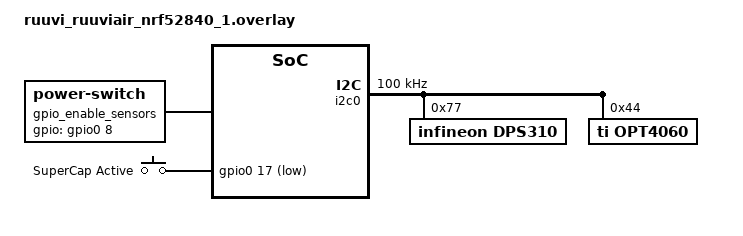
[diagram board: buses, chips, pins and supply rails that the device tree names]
/**
 * @copyright Ruuvi Innovations Ltd, license BSD-3-Clause.
 */

/ {
	gpio_enable_sensors: gpio_enable_sensors {
		compatible = "power-switch";
		status = "okay";
		gpios = <&gpio0 8 (GPIO_ACTIVE_HIGH | GPIO_PULL_DOWN)>;
	};

	buttons {
		button1: button_1 {
			gpios = <&gpio0 17 (GPIO_ACTIVE_LOW)>;
			label = "SuperCap Active";
			zephyr,code = <INPUT_KEY_1>;
		};
	};

	aliases {
		gpio-supercap-active = &button1;
	};
};

&gpio0 {
	status = "okay";
	gpio-reserved-ranges = <0 2>, <4 2>, <9 2>, <11 2>, <13 2>, <18 7>;
	gpio-line-names =
		"XL1",             // GPIO 0 *
		"XL2",             // GPIO 1 *
		"RC_PIN3",         // GPIO 2
		"RC_PIN2",         // GPIO 3
		"MIC_PDM",         // GPIO 4 *
		"MIC_CLK",         // GPIO 5 *
		"",                // GPIO 6
		"BUTTON_PINHOLE",  // GPIO 7
		"ENABLE_SENSORS",  // GPIO 8
		"NFC1",            // GPIO 9 *
		"NFC2",            // GPIO 10 *
		"UART0_TX",        // GPIO 11 *
		"UART0_RX",        // GPIO 12 *
		"I2C_SCL",         // GPIO 13 *
		"I2C_SDA",         // GPIO 14 *
		"",                // GPIO 15
		"",                // GPIO 16
		"SUPERCAP_ACTIVE", // GPIO 17
		"RESET",           // GPIO 18 *
		"QSPI CS",         // GPIO 19 *
		"QSPI DIO1",       // GPIO 20 *
		"QSPI DIO2",       // GPIO 21 *
		"QSPI DIO0",       // GPIO 22 *
		"QSPI CLK",        // GPIO 23 *
		"QSPI_DIO3",       // GPIO 24 *
		"",                // GPIO 25
		"",                // GPIO 26
		"",                // GPIO 27
		"RC_PIN4",         // GPIO 28
		"RC_PIN5",         // GPIO 29
		"RC_PIN6",         // GPIO 30
		"RC_PIN7";         // GPIO 31
};

&gpio1 {
	status = "okay";
	gpio-reserved-ranges = <0 1>;
	gpio-line-names =
		"SWO",					// GPIO 0 *
		"",						// GPIO 1
		"",						// GPIO 2
		"",						// GPIO 3
		"",						// GPIO 4
		"",						// GPIO 5
		"",						// GPIO 6
		"",						// GPIO 7
		"PINHOLE_LED_GREEN",	// GPIO 8
		"PINHOLE_LED_RED",		// GPIO 9
		"",						// GPIO 10
		"",						// GPIO 11
		"",						// GPIO 12
		"",						// GPIO 13
		"",						// GPIO 14
		"";						// GPIO 15
};

&i2c0 {
	status = "okay";
	clock-frequency = <I2C_BITRATE_STANDARD>;

	DPS310@77 {
		status = "okay";
		compatible = "infineon,dps310";
		reg = <0x77>;
	};

	OPT4060@44 {
		status = "okay";
		compatible = "ti,opt4060";
		reg = <0x44>;
	};
};
